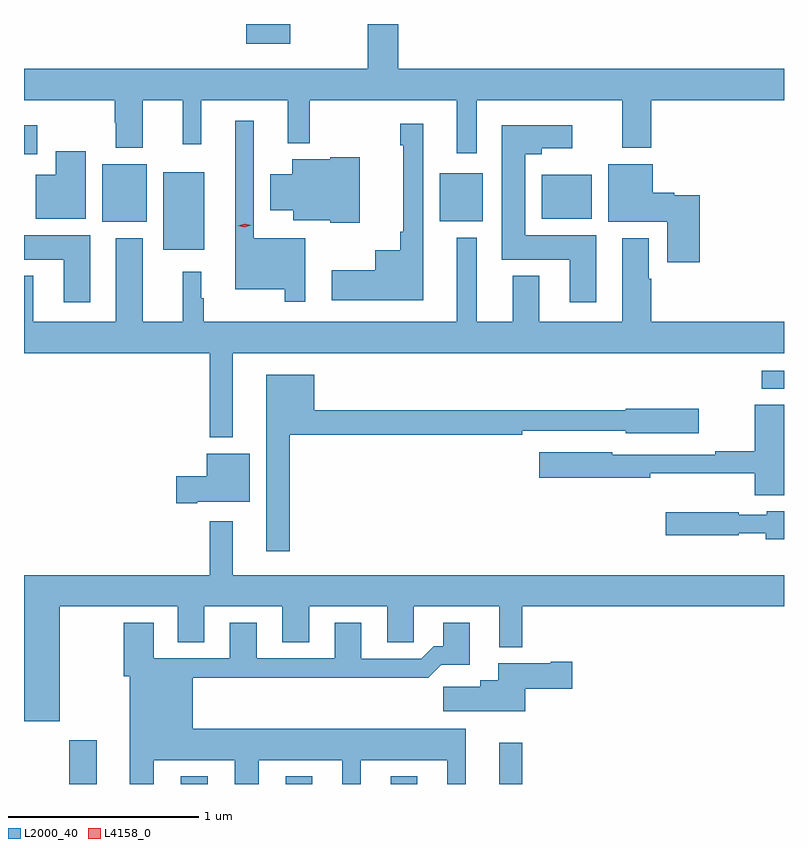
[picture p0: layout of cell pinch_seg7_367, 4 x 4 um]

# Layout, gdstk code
import gdstk
lib = gdstk.Library(unit=1e-6, precision=1e-09)
def R(c, l, rs):  # rectangles x0, y0, x1, y1
    for r in rs: c.add(gdstk.rectangle(r[:2], r[2:], *l))
def A(c, l, x, y, w, h, nx, ny, dx, dy):  # array of equal rectangles
    R(c, l, [(x+i*dx, y+j*dy, x+i*dx+w, y+j*dy+h) for i in range(nx) for j in range(ny)])
def P(c, l, *ps):  # polygons
    for p in ps: c.add(gdstk.Polygon(p, *l))
L2000_40 = (2000, 40)
L4158_0 = (4158, 0)

pinch_seg7_367 = lib.new_cell('pinch_seg7_367')
A(pinch_seg7_367, L2000_40, 489.791, 1002.344, 0.14, 0.041, 3, 1, 0.552, 0)
R(pinch_seg7_367, L2000_40, [(489.202,1002.344,489.349,1002.574), (491.465,1002.344,491.587,1002.562), (492.849,1004.424,492.965,1004.52), (489.698,1005.155,489.913,1005.565), (489.377,1005.302,489.61,1005.607), (491.153,1005.305,491.38,1005.559), (491.69,1005.32,491.953,1005.55), (488.965,1005.659,489.034,1005.811), (490.136,1006.241,490.366,1006.344)])
P(pinch_seg7_367, L2000_40, [(491.347,1005.944),(492.113,1005.944),(492.113,1005.692),(492.266,1005.692),(492.266,1005.944),(492.965,1005.944),(492.965,1006.108),(490.934,1006.108),(490.934,1006.344),(490.774,1006.344),(490.774,1006.108),(488.965,1006.108),(488.965,1005.944),(489.442,1005.944),(489.442,1005.824),(489.449,1005.824),(489.449,1005.692),(489.589,1005.692),(489.589,1005.944),(489.8,1005.944),(489.8,1005.711),(489.899,1005.711),(489.899,1005.944),(490.352,1005.944),(490.352,1005.716),(490.469,1005.716),(490.469,1005.944),(491.243,1005.944),(491.243,1005.663),(491.347,1005.663)],
  [(490.446,1005.217),(490.173,1005.217),(490.173,1005.835),(490.076,1005.835),(490.076,1004.948),(490.338,1004.948),(490.338,1004.883),(490.446,1004.883)],
  [(491.065,1005.82),(490.944,1005.82),(490.944,1005.707),(490.961,1005.707),(490.961,1005.25),(490.944,1005.25),(490.944,1005.154),(490.814,1005.154),(490.814,1005.049),(490.584,1005.049),(490.584,1004.891),(491.065,1004.891)],
  [(491.977,1005.232),(491.602,1005.232),(491.602,1005.659),(491.689,1005.659),(491.689,1005.689),(491.851,1005.689),(491.851,1005.811),(491.48,1005.811),(491.48,1005.104),(491.837,1005.104),(491.837,1004.88),(491.977,1004.88)],
  [(489.289,1005.673),(489.131,1005.673),(489.131,1005.55),(489.026,1005.55),(489.026,1005.32),(489.289,1005.32)],
  [(490.732,1005.643),(490.578,1005.643),(490.578,1005.631),(490.376,1005.631),(490.376,1005.553),(490.262,1005.553),(490.262,1005.365),(490.382,1005.365),(490.382,1005.311),(490.578,1005.311),(490.578,1005.299),(490.732,1005.299)],
  [(492.521,1005.442),(492.387,1005.442),(492.387,1005.455),(492.274,1005.455),(492.274,1005.607),(492.041,1005.607),(492.041,1005.302),(492.35,1005.302),(492.35,1005.09),(492.521,1005.09)],
  [(489.313,1005.232),(488.965,1005.232),(488.965,1005.104),(489.173,1005.104),(489.173,1004.88),(489.313,1004.88)],
  [(492.113,1005.217),(492.113,1004.776),(491.677,1004.776),(491.677,1005.019),(491.537,1005.019),(491.537,1004.776),(491.347,1004.776),(491.347,1005.22),(491.243,1005.22),(491.243,1004.776),(489.91,1004.776),(489.91,1004.9),(489.898,1004.9),(489.898,1005.04),(489.8,1005.04),(489.8,1004.776),(489.589,1004.776),(489.589,1005.217),(489.449,1005.217),(489.449,1004.776),(489.013,1004.776),(489.013,1005.019),(488.965,1005.019),(488.965,1004.612),(489.942,1004.612),(489.942,1004.168),(490.063,1004.168),(490.063,1004.612),(492.965,1004.612),(492.965,1004.776),(492.266,1004.776),(492.266,1005.002),(492.253,1005.002),(492.253,1005.217)],
  [(490.363,1004.182),(491.588,1004.182),(491.588,1004.202),(492.132,1004.202),(492.132,1004.189),(492.517,1004.189),(492.517,1004.319),(492.132,1004.319),(492.132,1004.311),(490.492,1004.311),(490.492,1004.497),(490.241,1004.497),(490.241,1003.569),(490.363,1003.569)],
  [(492.965,1004.339),(492.812,1004.339),(492.812,1004.096),(492.604,1004.096),(492.604,1004.076),(492.06,1004.076),(492.06,1004.089),(491.676,1004.089),(491.676,1003.955),(492.26,1003.955),(492.26,1003.979),(492.812,1003.979),(492.812,1003.865),(492.965,1003.865)],
  [(489.877,1003.829),(490.153,1003.829),(490.153,1004.083),(489.926,1004.083),(489.926,1003.964),(489.765,1003.964),(489.765,1003.822),(489.877,1003.822)],
  [(492.965,1003.78),(492.873,1003.78),(492.873,1003.761),(492.726,1003.761),(492.726,1003.774),(492.342,1003.774),(492.342,1003.652),(492.726,1003.652),(492.726,1003.663),(492.869,1003.663),(492.869,1003.631),(492.965,1003.631)],
  [(489.154,1003.28),(489.773,1003.28),(489.773,1003.09),(489.913,1003.09),(489.913,1003.28),(490.325,1003.28),(490.325,1003.09),(490.465,1003.09),(490.465,1003.28),(490.877,1003.28),(490.877,1003.09),(491.016,1003.09),(491.016,1003.28),(491.465,1003.28),(491.465,1003.064),(491.587,1003.064),(491.587,1003.28),(492.965,1003.28),(492.965,1003.444),(490.063,1003.444),(490.063,1003.726),(489.942,1003.726),(489.942,1003.444),(488.965,1003.444),(488.965,1002.674),(489.154,1002.674)],
  [(489.649,1002.47),(490.073,1002.47),(490.073,1002.344),(490.201,1002.344),(490.201,1002.47),(490.64,1002.47),(490.64,1002.344),(490.738,1002.344),(490.738,1002.47),(491.192,1002.47),(491.192,1002.344),(491.29,1002.344),(491.29,1002.634),(489.853,1002.634),(489.853,1002.904),(490.837,1002.904),(490.837,1002.902),(491.093,1002.902),(491.162,1002.971),(491.311,1002.971),(491.311,1003.192),(491.171,1003.192),(491.171,1003.069),(491.122,1003.069),(491.055,1003.002),(490.741,1003.002),(490.741,1003.192),(490.601,1003.192),(490.601,1003.005),(490.189,1003.005),(490.189,1003.192),(490.049,1003.192),(490.049,1003.005),(489.649,1003.005),(489.649,1003.192),(489.49,1003.192),(489.49,1002.912),(489.521,1002.912),(489.521,1002.344),(489.649,1002.344)],
  [(491.602,1002.845),(491.851,1002.845),(491.851,1002.987),(491.738,1002.987),(491.738,1002.979),(491.462,1002.979),(491.462,1002.889),(491.366,1002.889),(491.366,1002.857),(491.172,1002.857),(491.172,1002.728),(491.602,1002.728)])
P(pinch_seg7_367, L4158_0, [(490.127,1005.273),(490.091,1005.281),(490.091,1005.282),(490.091,1005.282),(490.126,1005.293),(490.162,1005.284),(490.162,1005.284),(490.162,1005.284)])

lib.write_gds('pinch_seg7_367.gds')
